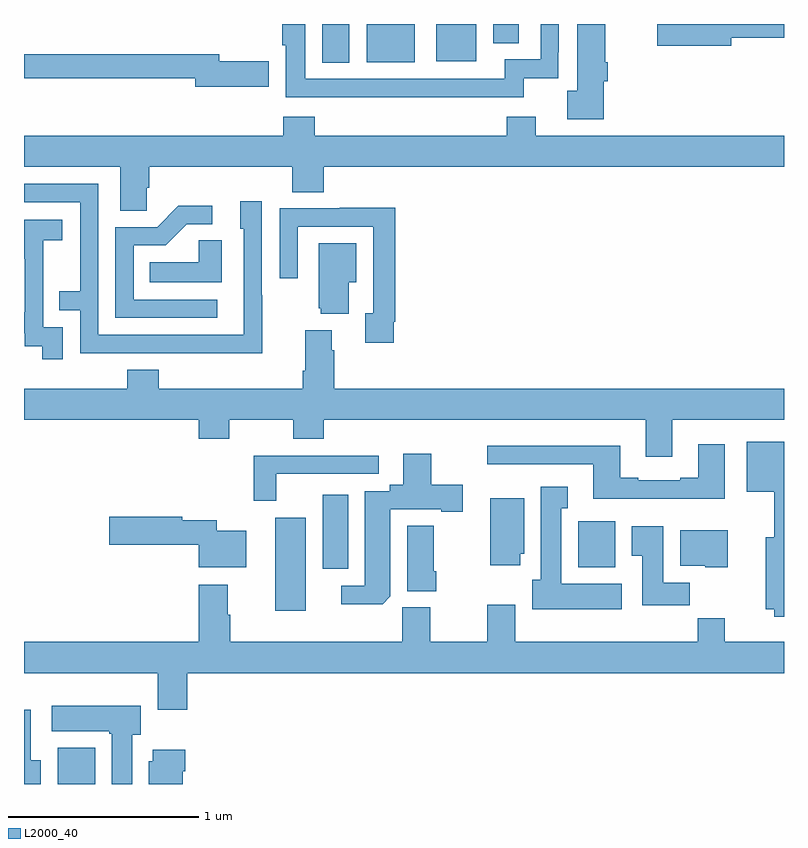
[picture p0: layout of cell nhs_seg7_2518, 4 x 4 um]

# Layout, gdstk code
import gdstk
lib = gdstk.Library(unit=1e-6, precision=1e-09)
def R(c, l, rs):  # rectangles x0, y0, x1, y1
    for r in rs: c.add(gdstk.rectangle(r[:2], r[2:], *l))
def P(c, l, *ps):  # polygons
    for p in ps: c.add(gdstk.Polygon(p, *l))
L2000_40 = (2000, 40)

nhs_seg7_2518 = lib.new_cell('nhs_seg7_2518')
R(nhs_seg7_2518, L2000_40, [(275.177,1032,275.374,1032.19), (276.323,1032.912,276.484,1033.402), (276.572,1033.134,276.706,1033.522), (277.916,1033.142,278.113,1033.384), (276.569,1035.796,276.712,1036), (276.803,1035.8,277.057,1036), (277.169,1035.803,277.381,1036), (277.469,1035.899,277.603,1036)])
P(nhs_seg7_2518, L2000_40, [(278.722,1035.928),(279,1035.928),(279,1036),(278.334,1036),(278.334,1035.886),(278.722,1035.886)],
  [(278.051,1035.699),(278.072,1035.699),(278.072,1035.799),(278.059,1035.799),(278.059,1036),(277.913,1036),(277.913,1035.648),(277.86,1035.648),(277.86,1035.5),(278.051,1035.5)],
  [(277.629,1035.714),(277.812,1035.714),(277.812,1035.852),(277.815,1035.852),(277.815,1036),(277.719,1036),(277.719,1035.814),(277.529,1035.814),(277.529,1035.711),(276.481,1035.711),(276.481,1036),(276.36,1036),(276.36,1035.889),(276.377,1035.889),(276.377,1035.614),(277.629,1035.614)],
  [(276.289,1035.805),(276.028,1035.805),(276.028,1035.842),(275,1035.842),(275,1035.714),(275.9,1035.714),(275.9,1035.671),(276.289,1035.671)],
  [(275.646,1035.139),(275.66,1035.139),(275.66,1035.248),(276.413,1035.248),(276.413,1035.115),(276.578,1035.115),(276.578,1035.248),(279,1035.248),(279,1035.412),(277.693,1035.412),(277.693,1035.511),(277.541,1035.511),(277.541,1035.412),(276.53,1035.412),(276.53,1035.511),(276.365,1035.511),(276.365,1035.412),(275,1035.412),(275,1035.248),(275.507,1035.248),(275.507,1035.016),(275.646,1035.016)],
  [(276.255,1034.573),(276.252,1034.573),(276.252,1035.067),(276.137,1035.067),(276.137,1034.922),(276.156,1034.922),(276.156,1034.364),(275.391,1034.364),(275.391,1035.159),(275,1035.159),(275,1035.063),(275.295,1035.063),(275.295,1034.594),(275.185,1034.594),(275.185,1034.493),(275.295,1034.493),(275.295,1034.268),(275.791,1034.268),(275.791,1034.267),(276.255,1034.267)],
  [(276.016,1034.55),(275.577,1034.55),(275.577,1034.835),(275.746,1034.835),(275.857,1034.946),(275.992,1034.946),(275.992,1035.044),(275.813,1035.044),(275.7,1034.931),(275.481,1034.931),(275.481,1034.454),(276.016,1034.454)],
  [(276.946,1034.434),(276.953,1034.434),(276.953,1035.032),(276.661,1035.032),(276.661,1035.03),(276.345,1035.03),(276.345,1034.661),(276.441,1034.661),(276.441,1034.934),(276.837,1034.934),(276.837,1034.478),(276.797,1034.478),(276.797,1034.322),(276.946,1034.322)],
  [(275.205,1034.403),(275.1,1034.403),(275.1,1034.632),(275.102,1034.632),(275.102,1034.861),(275.2,1034.861),(275.2,1034.971),(275.002,1034.971),(275.002,1034.765),(275.003,1034.765),(275.003,1034.482),(275,1034.482),(275,1034.373),(275.004,1034.373),(275.004,1034.305),(275.097,1034.305),(275.097,1034.235),(275.205,1034.235)],
  [(276.04,1034.861),(275.919,1034.861),(275.919,1034.746),(275.662,1034.746),(275.662,1034.642),(276.04,1034.642)],
  [(276.709,1034.642),(276.748,1034.642),(276.748,1034.845),(276.551,1034.845),(276.551,1034.505),(276.563,1034.505),(276.563,1034.474),(276.709,1034.474)],
  [(278.413,1033.916),(279,1033.916),(279,1034.08),(276.632,1034.08),(276.632,1034.282),(276.619,1034.282),(276.619,1034.389),(276.479,1034.389),(276.479,1034.176),(276.467,1034.176),(276.467,1034.08),(275.708,1034.08),(275.708,1034.179),(275.543,1034.179),(275.543,1034.08),(275,1034.08),(275,1033.916),(275.921,1033.916),(275.921,1033.817),(276.081,1033.817),(276.081,1033.916),(276.418,1033.916),(276.418,1033.817),(276.578,1033.817),(276.578,1033.916),(278.273,1033.916),(278.273,1033.722),(278.413,1033.722)],
  [(279,1033.801),(278.804,1033.801),(278.804,1033.538),(278.949,1033.538),(278.949,1033.3),(278.903,1033.3),(278.903,1032.92),(278.949,1032.92),(278.949,1032.881),(279,1032.881)],
  [(278.689,1033.789),(278.549,1033.789),(278.549,1033.612),(278.453,1033.612),(278.453,1033.599),(278.233,1033.599),(278.233,1033.612),(278.137,1033.612),(278.137,1033.78),(277.437,1033.78),(277.437,1033.683),(277.997,1033.683),(277.997,1033.502),(278.689,1033.502)],
  [(276.928,1032.988),(276.928,1033.446),(277.196,1033.446),(277.196,1033.433),(277.309,1033.433),(277.309,1033.575),(277.143,1033.575),(277.143,1033.738),(276.995,1033.738),(276.995,1033.574),(276.924,1033.574),(276.924,1033.542),(276.794,1033.542),(276.794,1033.044),(276.669,1033.044),(276.669,1032.947),(276.887,1032.947)],
  [(276.327,1033.632),(276.868,1033.632),(276.868,1033.728),(276.208,1033.728),(276.208,1033.491),(276.327,1033.491)],
  [(278.146,1033.054),(277.828,1033.054),(277.828,1033.451),(277.861,1033.451),(277.861,1033.564),(277.721,1033.564),(277.721,1033.074),(277.676,1033.074),(277.676,1032.92),(278.146,1032.92)],
  [(277.612,1033.212),(277.633,1033.212),(277.633,1033.504),(277.454,1033.504),(277.454,1033.152),(277.612,1033.152)],
  [(276.169,1033.333),(276.015,1033.333),(276.015,1033.389),(275.832,1033.389),(275.832,1033.406),(275.448,1033.406),(275.448,1033.259),(275.919,1033.259),(275.919,1033.142),(276.169,1033.142)],
  [(277.169,1033.12),(277.156,1033.12),(277.156,1033.36),(277.016,1033.36),(277.016,1033.015),(277.169,1033.015)],
  [(278.504,1033.06),(278.365,1033.06),(278.365,1033.357),(278.198,1033.357),(278.198,1033.201),(278.255,1033.201),(278.255,1032.942),(278.504,1032.942)],
  [(278.704,1033.336),(278.453,1033.336),(278.453,1033.148),(278.586,1033.148),(278.586,1033.142),(278.704,1033.142)],
  [(275.858,1032.584),(279,1032.584),(279,1032.748),(278.689,1032.748),(278.689,1032.872),(278.545,1032.872),(278.545,1032.748),(277.585,1032.748),(277.585,1032.943),(277.438,1032.943),(277.438,1032.748),(277.137,1032.748),(277.137,1032.93),(276.991,1032.93),(276.991,1032.748),(276.086,1032.748),(276.086,1032.89),(276.073,1032.89),(276.073,1033.048),(275.921,1033.048),(275.921,1032.748),(275,1032.748),(275,1032.584),(275.705,1032.584),(275.705,1032.39),(275.858,1032.39)],
  [(275.569,1032.258),(275.614,1032.258),(275.614,1032.412),(275.145,1032.412),(275.145,1032.278),(275.449,1032.278),(275.449,1032.265),(275.462,1032.265),(275.462,1032),(275.569,1032)],
  [(275.089,1032.124),(275.035,1032.124),(275.035,1032.391),(275,1032.391),(275,1032),(275.089,1032)],
  [(275.836,1032.068),(275.849,1032.068),(275.849,1032.18),(275.678,1032.18),(275.678,1032.12),(275.657,1032.12),(275.657,1032),(275.836,1032)])

lib.write_gds('nhs_seg7_2518.gds')
